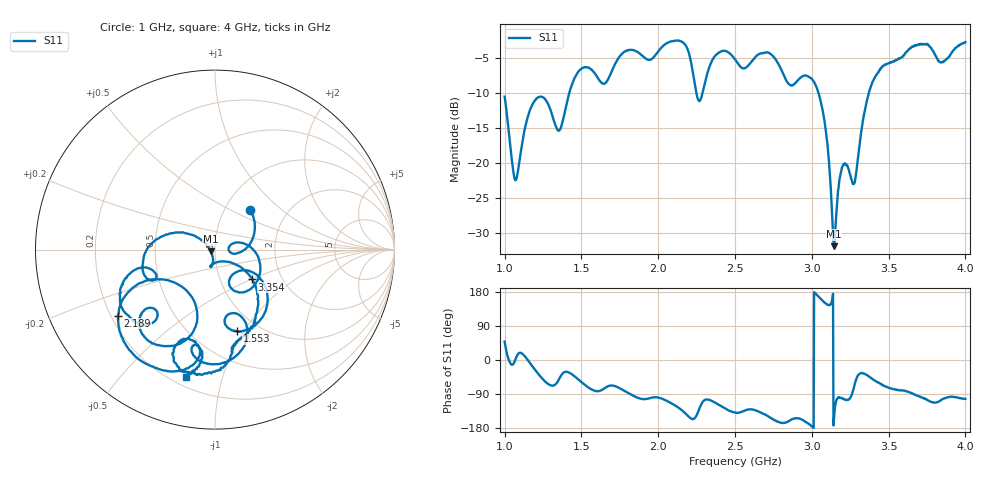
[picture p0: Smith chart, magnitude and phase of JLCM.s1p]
# MHz S MA R 50
!  freq  S11
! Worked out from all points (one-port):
!   1000 points, 1 GHz to 4 GHz, reference 50 ohm
!   lowest |S11| = -31.8 dB at 3.144 GHz (marker M1), VSWR 1.05, Z = 47.7 - j0.979 ohm
!   |S11| at or under -10 dB: start of sweep to 1.421 GHz; 2.248 GHz to 2.289 GHz (40.72 MHz wide, 1.79 % of centre); 3.043 GHz to 3.372 GHz (329 MHz wide, 10.3 % of centre)
!   S11 on the Smith chart (normalised r, x): 1 GHz: 1.31, +0.64; 1.553 GHz: 0.80, -0.94; 2.189 GHz: 0.23, -0.29; 3.354 GHz: 1.41, -0.51; 4 GHz: 0.26, -0.77
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1000  0.2964 48.8
1072.072  0.07559 3.1
1201.201  0.2828 -27.3
1375.375  0.1922 -36.6
1459.459  0.4104 -44.5
1552.553  0.4721 -74.7
1660.661  0.3744 -71.7
1750.751  0.5776 -75.0
2006.006  0.6338 -99.6
2126.126  0.7446 -124.3
2189.189  0.6543 -145.8
2261.261  0.281 -135.6
2303.303  0.3696 -105.6
2384.384  0.5978 -116.0
2501.502  0.5446 -139.0
2741.742  0.5845 -155.3
2876.877  0.3581 -155.3
3048.048  0.3016 165.7
3096.096  0.1547 147.5
3144.144  0.02566 -156.4
3198.198  0.09379 -101.8
3252.252  0.08108 -98.8
3282.282  0.07597 -59.5
3354.354  0.2652 -38.9
3627.628  0.637 -84.0
3777.778  0.6564 -110.5
3843.844  0.521 -105.0
4000  0.7251 -102.7
